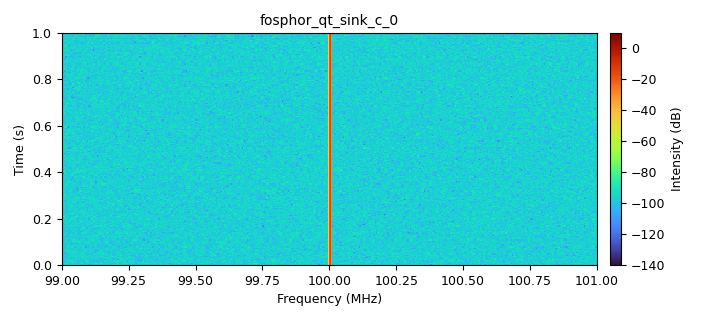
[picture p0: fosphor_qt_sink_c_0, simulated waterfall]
options:
  parameters:
    generate_options: qt_gui
    id: untitled
    output_language: python
    title: Not titled yet
  states: {}

blocks:
- name: dBm_ref_0dBFS
  id: variable
  parameters:
    value: 5-gain
  states: {}
- name: freq
  id: variable_qtgui_range
  parameters:
    start: 50e6
    step: 10e6
    stop: 6e9
    value: 100e6
  states: {}
- name: gain
  id: variable_qtgui_range
  parameters:
    start: '0'
    step: '1'
    stop: '60'
    value: '50'
  states: {}
- name: samp_rate
  id: variable
  parameters:
    value: 1000*1000*2
  states: {}
- name: throttle_
  id: variable
  parameters:
    value: samp_rate
  states: {}
- name: waterfall_ms
  id: variable
  parameters:
    value: 1000*1024*976/samp_rate
  states: {}
- name: analog_fastnoise_source_x_0
  id: analog_fastnoise_source_x
  parameters:
    amp: '0.001'
    noise_type: analog.GR_GAUSSIAN
    samples: '8192'
    seed: '0'
    type: complex
  states: {}
- name: analog_sig_source_x_0
  id: analog_sig_source_x
  parameters:
    amp: '0.5'
    freq: '100'
    offset: '0'
    phase: '0'
    samp_rate: samp_rate
    type: complex
    waveform: analog.GR_SQR_WAVE
  states: {}
- name: blocks_add_xx_0
  id: blocks_add_xx
  parameters:
    type: complex
  states: {}
- name: blocks_throttle2_0
  id: blocks_throttle2
  parameters:
    samples_per_second: throttle_
    type: complex
  states: {}
- name: fosphor_glfw_sink_c_0
  id: fosphor_glfw_sink_c
  parameters:
    dBm_ref_0dBFS: dBm_ref_0dBFS
    freq_center: '0'
    freq_span: samp_rate
  states: {state: disabled}
- name: fosphor_qt_sink_c_0
  id: fosphor_qt_sink_c
  parameters:
    dBm_ref_0dBFS: dBm_ref_0dBFS
    freq_center: freq
    freq_span: samp_rate
  states: {}

connections:
- [analog_fastnoise_source_x_0, '0', blocks_add_xx_0, '0']
- [analog_sig_source_x_0, '0', blocks_add_xx_0, '1']
- [blocks_add_xx_0, '0', blocks_throttle2_0, '0']
- [blocks_throttle2_0, '0', fosphor_glfw_sink_c_0, '0']
- [blocks_throttle2_0, '0', fosphor_qt_sink_c_0, '0']

metadata:
  file_format: 1
  grc_version: 3.10.9.2
